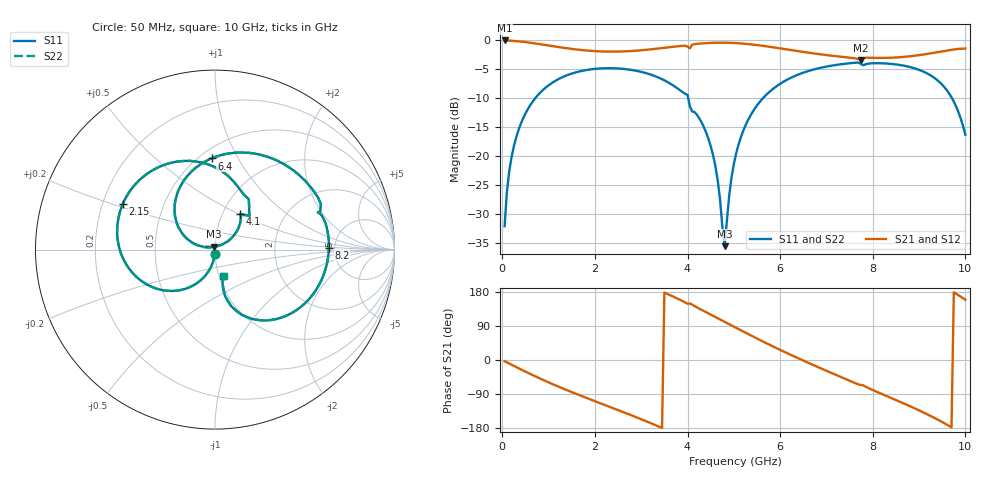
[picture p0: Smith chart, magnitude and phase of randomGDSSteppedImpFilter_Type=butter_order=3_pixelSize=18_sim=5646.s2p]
! freq	dB(S11)	phase(S11)	dB(S12)	phase(S12)
!  dB(S21)	phase(S21)	dB(S22)	phase(S22)
!S-par simulation data
#  GHz  S  DB  R 50
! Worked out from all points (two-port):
!   200 points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, 50 MHz to 10 GHz, reference 50 ohm
!   highest |S21| = -0.01 dB at 50 MHz (marker M1); lowest = -3.4 dB at 7.75 GHz (marker M2)
!   |S21| within 3 dB of the highest: start of sweep to 7.543 GHz; 8.335 GHz to end of sweep (the widest 2 of 3)
!   lowest |S11| = -35.6 dB at 4.8 GHz (marker M3), VSWR 1.03, Z = 49.6 + j1.6 ohm
!   |S11| at or under -10 dB: start of sweep to 712 MHz; 4.015 GHz to 5.629 GHz (1.614 GHz wide, 33.5 % of centre); 9.711 GHz to end of sweep
!   |S22| runs from -36.2 to -3.8 dB; largest |S21 - S12| = 0
!   S11 on the Smith chart (normalised r, x): 50 MHz: 1.00, -0.05; 2.15 GHz: 0.28, +0.21; 4.1 GHz: 1.21, +0.51; 6.4 GHz: 0.57, +0.78; 8.2 GHz: 4.46, +0.17; 10 GHz: 1.05, -0.31
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0.05  -32.13 -93.1  -0.01 -3.2  -0.01 -3.2  -32.13 -93.1
0.2  -20.19 -102.9  -0.06 -12.5  -0.06 -12.5  -20.19 -102.9
0.5  -12.64 -121.2  -0.29 -30.7  -0.29 -30.7  -12.64 -121.2
1.1  -7.21 -154.9  -1.01 -64.4  -1.01 -64.4  -7.21 -154.9
1.75  -5.22 172.6  -1.70 -96.9  -1.70 -96.9  -5.22 172.6
2.15  -4.83 153.8  -1.91 -115.7  -1.91 -115.7  -4.83 153.8
3.4  -6.52 93.6  -1.37 -176.7  -1.37 -176.7  -6.52 93.5
4.1  -12.28 54.5  -0.74 146.3  -0.74 146.3  -12.29 54.3
4.55  -19.81 34.4  -0.41 116.7  -0.41 116.7  -19.82 33.8
4.65  -24.09 33.9  -0.39 110.3  -0.39 110.3  -24.13 32.8
4.8  -35.59 104.2  -0.39 100.8  -0.39 100.8  -36.24 104.5
4.9  -26.80 163.0  -0.41 94.4  -0.41 94.4  -26.88 164.6
5.05  -19.55 165.3  -0.46 84.8  -0.46 84.8  -19.56 166.0
5.75  -9.03 128.4  -1.07 41.5  -1.07 41.5  -9.03 128.7
6.4  -5.87 92.2  -1.87 4.0  -1.87 4.0  -5.87 92.3
6.7  -5.08 76.1  -2.22 -12.5  -2.22 -12.5  -5.08 76.2
7.75  -4.10 19.9  -3.42 -65.7  -3.42 -65.7  -4.11 20.0
8.2  -3.95 1.1  -3.03 -89.9  -3.03 -89.9  -3.95 1.2
8.35  -4.02 -6.4  -3.00 -97.7  -3.00 -97.7  -4.02 -6.3
9.25  -6.05 -52.1  -2.24 -147.7  -2.24 -147.7  -6.05 -51.9
9.7  -9.84 -74.4  -1.62 -177.7  -1.62 -177.7  -9.81 -74.0
10  -16.30 -72.6  -1.40 159.0  -1.40 159.0  -16.16 -71.8
